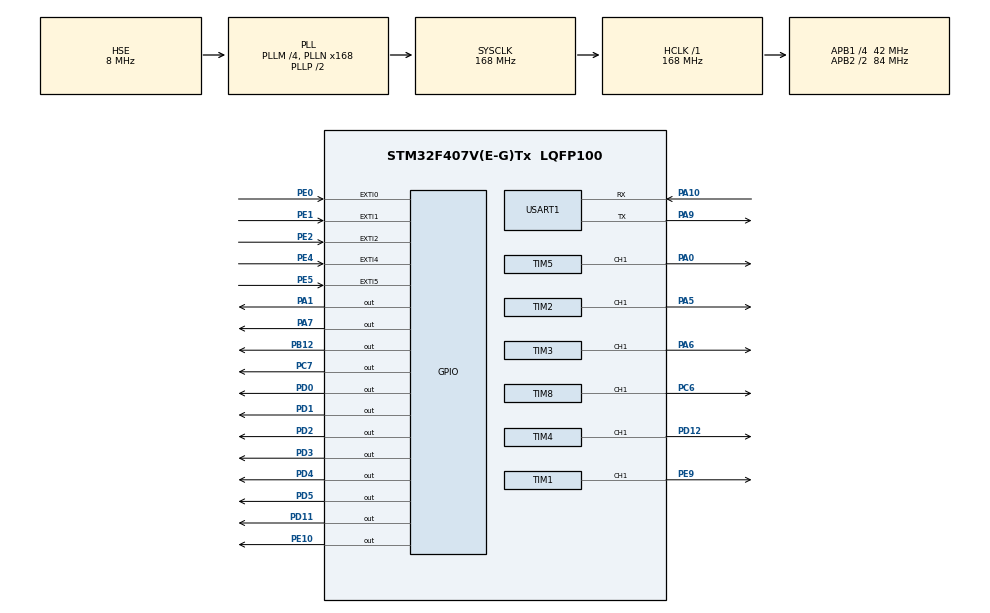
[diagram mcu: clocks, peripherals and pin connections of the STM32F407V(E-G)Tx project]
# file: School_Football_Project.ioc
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Mcu.Family=STM32F4
Mcu.Name=STM32F407V(E-G)Tx
Mcu.Package=LQFP100
NVIC.EXTI0_IRQn=true\:1\:0\:true\:false\:true\:true\:true\:true
NVIC.EXTI1_IRQn=true\:1\:0\:true\:false\:true\:true\:true\:true
NVIC.EXTI2_IRQn=true\:1\:0\:true\:false\:true\:true\:true\:true
NVIC.EXTI4_IRQn=true\:1\:0\:true\:false\:true\:true\:true\:true
NVIC.EXTI9_5_IRQn=true\:1\:0\:true\:false\:true\:true\:true\:true
NVIC.PriorityGroup=NVIC_PRIORITYGROUP_4
NVIC.TIM1_UP_TIM10_IRQn=true\:0\:0\:false\:false\:true\:true\:true\:true
NVIC.TIM2_IRQn=true\:0\:0\:false\:false\:true\:true\:true\:true
NVIC.TIM3_IRQn=true\:0\:0\:false\:false\:true\:true\:true\:true
NVIC.TIM4_IRQn=true\:0\:0\:false\:false\:true\:true\:true\:true
NVIC.TIM5_IRQn=true\:0\:0\:false\:false\:true\:true\:true\:true
NVIC.TIM8_UP_TIM13_IRQn=true\:0\:0\:false\:false\:true\:true\:true\:true
NVIC.USART1_IRQn=true\:0\:0\:false\:false\:true\:true\:true\:true
PA0-WKUP.Signal=S_TIM5_CH1
PA1.Signal=GPIO_Output
PA10.Mode=Asynchronous
PA10.Signal=USART1_RX
PA5.Signal=S_TIM2_CH1_ETR
PA6.Signal=S_TIM3_CH1
PA7.Signal=GPIO_Output
PA9.Mode=Asynchronous
PA9.Signal=USART1_TX
PB12.Signal=GPIO_Output
PC6.Signal=S_TIM8_CH1
PC7.Signal=GPIO_Output
PD0.PinState=GPIO_PIN_SET
PD0.Signal=GPIO_Output
PD1.PinState=GPIO_PIN_SET
PD1.Signal=GPIO_Output
PD11.Signal=GPIO_Output
PD12.Signal=S_TIM4_CH1
PD2.PinState=GPIO_PIN_SET
PD2.Signal=GPIO_Output
PD3.PinState=GPIO_PIN_SET
PD3.Signal=GPIO_Output
PD4.PinState=GPIO_PIN_SET
PD4.Signal=GPIO_Output
PD5.PinState=GPIO_PIN_SET
PD5.Signal=GPIO_Output
PE0.GPIO_ModeDefaultEXTI=GPIO_MODE_IT_FALLING
PE0.GPIO_PuPd=GPIO_NOPULL
PE0.Signal=GPXTI0
PE1.GPIO_ModeDefaultEXTI=GPIO_MODE_IT_FALLING
PE1.GPIO_PuPd=GPIO_NOPULL
PE1.Signal=GPXTI1
PE10.Signal=GPIO_Output
PE2.GPIO_ModeDefaultEXTI=GPIO_MODE_IT_FALLING
PE2.GPIO_PuPd=GPIO_NOPULL
PE2.Signal=GPXTI2
PE4.GPIO_ModeDefaultEXTI=GPIO_MODE_IT_RISING
PE4.Signal=GPXTI4
PE5.GPIO_ModeDefaultEXTI=GPIO_MODE_IT_RISING
PE5.Signal=GPXTI5
PE9.Signal=S_TIM1_CH1
PH0-OSC_IN.Mode=HSE-External-Oscillator
PH0-OSC_IN.Signal=RCC_OSC_IN
PH1-OSC_OUT.Mode=HSE-External-Oscillator
PH1-OSC_OUT.Signal=RCC_OSC_OUT
ProjectManager.HeapSize=0x200
ProjectManager.StackSize=0x400
ProjectManager.TargetToolchain=Makefile
RCC.48MHZClocksFreq_Value=84000000
RCC.AHBFreq_Value=168000000
RCC.APB1CLKDivider=RCC_HCLK_DIV4
RCC.APB1Freq_Value=42000000
RCC.APB1TimFreq_Value=84000000
RCC.APB2CLKDivider=RCC_HCLK_DIV2
RCC.APB2Freq_Value=84000000
RCC.APB2TimFreq_Value=168000000
RCC.CortexFreq_Value=168000000
RCC.HCLKFreq_Value=168000000
RCC.HSE_VALUE=8000000
RCC.HSI_VALUE=16000000
RCC.LSE_VALUE=32768
RCC.PLLM=4
RCC.PLLN=168
RCC.PLLSourceVirtual=RCC_PLLSOURCE_HSE
RCC.SYSCLKFreq_VALUE=168000000
RCC.SYSCLKSource=RCC_SYSCLKSOURCE_PLLCLK
RCC.VCOOutputFreq_Value=336000000
SH.S_TIM1_CH1.0=TIM1_CH1,PWM Generation1 CH1
SH.S_TIM2_CH1_ETR.0=TIM2_CH1,PWM Generation1 CH1
SH.S_TIM3_CH1.0=TIM3_CH1,PWM Generation1 CH1
SH.S_TIM4_CH1.0=TIM4_CH1,PWM Generation1 CH1
SH.S_TIM5_CH1.0=TIM5_CH1,PWM Generation1 CH1
SH.S_TIM8_CH1.0=TIM8_CH1,PWM Generation1 CH1
TIM1.Channel-PWM\ Generation1\ CH1=TIM_CHANNEL_1
TIM1.Period=500
TIM1.Prescaler=168-1
TIM1.Pulse-PWM\ Generation1\ CH1=300
TIM2.Channel-PWM\ Generation1\ CH1=TIM_CHANNEL_1
TIM2.Period=2000
TIM2.Prescaler=84-1
TIM2.Pulse-PWM\ Generation1\ CH1=300
TIM3.Channel-PWM\ Generation1\ CH1=TIM_CHANNEL_1
TIM3.Period=500
TIM3.Prescaler=84-1
TIM3.Pulse-PWM\ Generation1\ CH1=300
TIM4.Channel-PWM\ Generation1\ CH1=TIM_CHANNEL_1
TIM4.Period=2000
TIM4.Prescaler=84-1
TIM4.Pulse-PWM\ Generation1\ CH1=300
TIM5.Channel-PWM\ Generation1\ CH1=TIM_CHANNEL_1
TIM5.Period=500
TIM5.Prescaler=84-1
TIM5.Pulse-PWM\ Generation1\ CH1=300
TIM8.Channel-PWM\ Generation1\ CH1=TIM_CHANNEL_1
TIM8.Period=2000
TIM8.Prescaler=168-1
TIM8.Pulse-PWM\ Generation1\ CH1=300
USART1.VirtualMode=VM_ASYNC
VP_TIM1_VS_ClockSourceINT.Mode=Internal
VP_TIM2_VS_ClockSourceINT.Mode=Internal
VP_TIM3_VS_ClockSourceINT.Mode=Internal
VP_TIM4_VS_ClockSourceINT.Mode=Internal
VP_TIM5_VS_ClockSourceINT.Mode=Internal
VP_TIM8_VS_ClockSourceINT.Mode=Internal
board=custom

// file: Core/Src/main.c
/* USER CODE BEGIN Header */
/**
 ******************************************************************************
 * @file           : main.c
 * @brief          : Main program body
 ******************************************************************************
 * @attention
 *
 * Copyright (c) 2025 STMicroelectronics.
 * All rights reserved.
 *
 * This software is licensed under terms that can be found in the LICENSE file
 * in the root directory of this software component.
 * If no LICENSE file comes with this software, it is provided AS-IS.
 *
 ******************************************************************************
 */
/* USER CODE END Header */
#include "main.h"

/* USER CODE BEGIN Includes */
#include "step_motor.h"
/* USER CODE END Includes */

TIM_HandleTypeDef htim1;
TIM_HandleTypeDef htim2;
TIM_HandleTypeDef htim3;
TIM_HandleTypeDef htim4;
TIM_HandleTypeDef htim5;
TIM_HandleTypeDef htim8;

UART_HandleTypeDef huart1;

/* USER CODE BEGIN PV */
char coord_data[9];

Step_motor one;
Step_motor two;
Step_motor three;

Coord ball_coord;

typedef enum
{
  STATE_STOPPED,
  STATE_INITIALIZING,
  STATE_HOMING,
  STATE_READY,
  STATE_RUNNING,
} SystemState;

volatile SystemState system_state = STATE_STOPPED;

Step_motor *select_step_motor;

// PIDController pid;
float result = 0.0f;
bool if_origin[3] = {false, false, false}; // 判斷馬達回原點

const int ONE_MAX_X = 485;
const int ONE_MIN_X = 393;
const int TWO_MAX_X = 294;
const int TWO_MIN_X = 205;
const int THREE_MAX_X = 92;
const int THREE_MIN_X = 5;

// 進球時間計時
bool condition = true;
uint32_t goal_now = 0;

bool is_ball = true;                 // 是否有球
volatile bool if_goal_c = false;     // 是否有進球 電腦
volatile bool goal_c_filter = false; // 進球濾波
volatile bool if_goal_p = false;     // 是否有進球 人
volatile bool goal_p_filter = false; // 進球濾波

/* USER CODE END PV */

void SystemClock_Config(void);
static void MX_GPIO_Init(void);
static void MX_TIM1_Init(void);
static void MX_TIM2_Init(void);
static void MX_USART1_UART_Init(void);
static void MX_TIM3_Init(void);
static void MX_TIM4_Init(void);
static void MX_TIM5_Init(void);
static void MX_TIM8_Init(void);

/* USER CODE BEGIN 0 */

Coord str_find_int(char *c)
{
  is_ball = true;
  Coord cord;
  sscanf(c, "s%03d,%03dp", &cord.x, &cord.y);
  if (cord.y > 300 && select_step_motor != &one)
  {
    // 如果y值大於390，則將y值設為390
    cord.y = 300;
  }
  if (cord.y < 0)
  {
    // 如果y值小於0，則將y值設為0
    cord.y = 0;
  }

  return cord;
}

void HAL_UART_RxCpltCallback(UART_HandleTypeDef *huart)
{
  if (huart == &huart1)
  {
    if (coord_data[8] == 'p')
    {
      if_goal_c = false;
      goal_c_filter = false;
      if_goal_p = false;
      goal_p_filter = false;

      ball_coord = str_find_int(coord_data);
      memset(coord_data, 0, sizeof(coord_data)); // 清空緩衝區
    }

    if (strncmp(coord_data, "isno_ball", 9) == 0)
    {
      is_ball = false;
      memset(coord_data, 0, sizeof(coord_data)); // 清空緩衝區
      // 一直傳進球訊號
      if (if_goal_c == true)
      {
        goal_c_filter = true;
        const char goal_c_msg[] = "goal_c\n";
        // HAL_UART_Transmit_IT(&huart1, (uint8_t *)goal_c_msg, sizeof(goal_c_msg) - 1);
        HAL_UART_Transmit_IT(&huart1, (uint8_t *)goal_c_msg, strlen(goal_c_msg));
      }
      if (if_goal_p == true)
      {
        goal_p_filter = true;
        const char goal_p_msg[] = "goal_p\n";
        HAL_UART_Transmit_IT(&huart1, (uint8_t *)goal_p_msg, strlen(goal_p_msg));
      }
    }

    if (strncmp(coord_data, "stopstops", 9) == 0)
    {
      HAL_GPIO_WritePin(GPIOD, GPIO_PIN_0 | GPIO_PIN_1 | GPIO_PIN_2 | GPIO_PIN_3 | GPIO_PIN_4 | GPIO_PIN_5, GPIO_PIN_SET);
      system_state = STATE_STOPPED;
      if_origin[0] = false;
      if_origin[1] = false;
      if_origin[2] = false;
      ball_coord.x = 0;
      ball_coord.y = 0;
      stop_step_motor(&one);
      stop_step_motor(&two);
      stop_step_motor(&three);
    }
    if (strncmp(coord_data, "starttart", 9) == 0)
    {
      HAL_GPIO_WritePin(GPIOD, GPIO_PIN_0 | GPIO_PIN_1 | GPIO_PIN_2 | GPIO_PIN_3 | GPIO_PIN_4 | GPIO_PIN_5, GPIO_PIN_RESET);
      // HAL_GPIO_WritePin(GPIOD, GPIO_PIN_0 | GPIO_PIN_1, GPIO_PIN_RESET);
      if (system_state == STATE_READY)
      {
        system_state = STATE_RUNNING;
      }
    }
    if (strcmp(coord_data, "init,init") == 0)
    {
      // 馬達始能
      HAL_GPIO_WritePin(GPIOD, GPIO_PIN_0 | GPIO_PIN_1 | GPIO_PIN_2 | GPIO_PIN_3 | GPIO_PIN_4 | GPIO_PIN_5, GPIO_PIN_RESET);
      system_state = STATE_HOMING;

      // 確認是否到原點感測器
      if (HAL_GPIO_ReadPin(GPIOE, GPIO_PIN_0) != GPIO_PIN_RESET)
      {
        HAL_GPIO_WritePin(GPIOA, GPIO_PIN_1, GPIO_PIN_RESET);
        Set_Step_Frequency(&one, 1000);
        HAL_TIM_PWM_Start(&htim2, TIM_CHANNEL_1);
      }
      else
      {
        if_origin[0] = true;
      }

      if (HAL_GPIO_ReadPin(GPIOE, GPIO_PIN_1) != GPIO_PIN_RESET)
      {
        HAL_GPIO_WritePin(GPIOD, GPIO_PIN_11, GPIO_PIN_RESET);
        Set_Step_Frequency(&two, 1000);
        HAL_TIM_PWM_Start(&htim4, TIM_CHANNEL_1);
      }
      else
      {
        if_origin[1] = true;
      }

      if (HAL_GPIO_ReadPin(GPIOE, GPIO_PIN_2) != GPIO_PIN_RESET)
      {
        HAL_GPIO_WritePin(GPIOC, GPIO_PIN_7, GPIO_PIN_RESET);
        Set_Step_Frequency(&three, 1000);
        HAL_TIM_PWM_Start(&htim8, TIM_CHANNEL_1);
      }
      else
      {
        if_origin[2] = true;
      }
    }
  }

  HAL_UART_Receive_IT(&huart1, (uint8_t *)coord_data, sizeof(coord_data));
}

void HAL_UART_TxCpltCallback(UART_HandleTypeDef *huart)
{
  if (huart->Instance == USART1)
  {
    return;
  }
}

// 原點感測中斷：當回到滑軌移動到原點停止馬達->初始話馬達位置->傳一個以到達原點的訊號給電腦
void HAL_GPIO_EXTI_Callback(uint16_t GPIO_Pin)
{
  if (huart1.gState == HAL_UART_STATE_READY)
  {
    if (system_state == STATE_HOMING)
    {
      if (GPIO_Pin == GPIO_PIN_0)
      {
        // 停止馬達移動
        HAL_TIM_PWM_Stop(&htim2, TIM_CHANNEL_1);
        // 初始話馬達位置
        step_motor_init(&one, &htim2, TIM_CHANNEL_1, GPIOA, GPIO_PIN_1, 1, &htim1, TIM_CHANNEL_1, ONE_MIN_X, ONE_MAX_X);
        if_origin[0] = true;
      }

      if (GPIO_Pin == GPIO_PIN_1)
      {
        HAL_TIM_PWM_Stop(&htim4, TIM_CHANNEL_1);
        // 初始話馬達位置
        step_motor_init(&two, &htim4, TIM_CHANNEL_1, GPIOD, GPIO_PIN_11, -1, &htim3, TIM_CHANNEL_1, TWO_MIN_X, TWO_MAX_X);
        if_origin[1] = true;
      }

      if (GPIO_Pin == GPIO_PIN_2)
      {
        HAL_TIM_PWM_Stop(&htim8, TIM_CHANNEL_1);
        step_motor_init(&three, &htim8, TIM_CHANNEL_1, GPIOC, GPIO_PIN_7, 1, &htim5, TIM_CHANNEL_1, THREE_MIN_X, THREE_MAX_X);
        if_origin[2] = true;
      }
    }

    if (if_origin[0] && if_origin[1] && if_origin[2] && system_state == STATE_HOMING)
    {
      HAL_TIM_PWM_Stop(&htim2, TIM_CHANNEL_1);
      HAL_TIM_PWM_Stop(&htim4, TIM_CHANNEL_1);
      HAL_TIM_PWM_Stop(&htim8, TIM_CHANNEL_1);
      // 傳輸到達圓點訊號
      char read_msg[] = "read\n";
      HAL_UART_Transmit_IT(&huart1, (uint8_t *)read_msg, strlen(read_msg));
      system_state = STATE_READY;
    }

    if (GPIO_Pin == GPIO_PIN_4 && if_goal_p == false)
    {
      if_goal_p = true;
    }
    if (GPIO_Pin == GPIO_PIN_5 && if_goal_c == false)
    {
      if_goal_c = true;
    }
  }
}
void HAL_TIM_PeriodElapsedCallback(TIM_HandleTypeDef *htim)
{
  /* -----------one----------- */
  if (htim->Instance == TIM1)
  {
    // 371 402踢球
    count_kick_step(&one);
    if (one.kick_step >= 800)
    {
      one.kick_step = 0;
      kick_stop_step_motor(&one);
    }
  }

  if (htim->Instance == TIM2)
  {
    compute_man_location(&one);
  }
  /* -----------one----------- */

  /* -----------two----------- */
  if (htim->Instance == TIM3)
  {
    // 207到245踢球
    count_kick_step(&two);
    if (two.kick_step >= 800)
    {
      two.kick_step = 0;
      kick_stop_step_motor(&two);
    }
  }

  if (htim->Instance == TIM4)
  {
    compute_man_location(&two);
  }
  /* -----------two----------- */

  /* ----------three---------- */
  if (htim->Instance == TIM5)
  {
    // 27 70踢球
    count_kick_step(&three);
    if (three.kick_step >= 800)
    {
      three.kick_step = 0;
      kick_stop_step_motor(&three);
    }
  }

  if (htim->Instance == TIM8)
  {
    compute_man_location(&three);
  }
  /* ----------three---------- */
}

/* USER CODE END 0 */

int main(void)
{

  /* MCU Configuration--------------------------------------------------------*/

  /* Reset of all peripherals, Initializes the Flash interface and the Systick. */
  HAL_Init();

  /* Configure the system clock */
  SystemClock_Config();

  /* Initialize all configured peripherals */
  MX_GPIO_Init();
  MX_TIM1_Init();
  MX_TIM2_Init();
  MX_USART1_UART_Init();
  MX_TIM3_Init();
  MX_TIM4_Init();
  MX_TIM5_Init();
  MX_TIM8_Init();
  /* USER CODE BEGIN 2 */
  HAL_UART_Receive_IT(&huart1, (uint8_t *)coord_data, sizeof(coord_data));
  // init_pid(&pid);
  step_motor_init(&one, &htim2, TIM_CHANNEL_1, GPIOA, GPIO_PIN_1, 1, &htim1, TIM_CHANNEL_1, ONE_MIN_X, ONE_MAX_X);
  step_motor_init(&two, &htim4, TIM_CHANNEL_1, GPIOD, GPIO_PIN_11, -1, &htim3, TIM_CHANNEL_1, TWO_MIN_X, TWO_MAX_X);
  step_motor_init(&three, &htim8, TIM_CHANNEL_1, GPIOC, GPIO_PIN_7, 1, &htim5, TIM_CHANNEL_1, THREE_MIN_X, THREE_MAX_X);
  ball_coord.x = 0;
  ball_coord.y = 0;

  uint32_t start_time = HAL_GetTick();
  float freq = 0.0f;

  /* USER CODE END 2 */

  /* Infinite loop */
  /* USER CODE BEGIN WHILE */
  while (1)
  {
    //
    if (system_state == STATE_RUNNING)
    {
      if (HAL_GetTick() - start_time >= 20)
      {
        if (is_ball == true)
        {
          select_step_motor = which_step_motor(&ball_coord, &one, &two, &three);
          float *man_range = NULL;
          if (select_step_motor != NULL)
          {
            man_range = which_man_range(&ball_coord, select_step_motor);
          }
          if (select_step_motor != NULL && man_range != NULL)
          {
            if (select_step_motor == &one)
            {
              result = ball_coord.y - *man_range + 0;
              /* code */
            }
            else
            {
              result = ball_coord.y - *man_range; // 三號馬達的y值要加20
            }

            /* ---------------- pid ----------------- */
            freq = PI_Update(&select_step_motor->pid, result);
            if (fabs(freq) > 0)
            {
              Set_Step_Frequency(select_step_motor, fabs(freq));
            }

            /* ---------------- pid ----------------- */

            // 判斷方向
            if (result > 2)
            {
              dir_and_move_step_motor(select_step_motor, 1);
            }
            else if (result < -2)
            {
              dir_and_move_step_motor(select_step_motor, -1);
            }
            else
            {
              stop_step_motor(select_step_motor);
            }

            // 判斷踢球的時機
            if (fabs(result) <= 5) // 判斷距離
            {
              // 如果這個踢球為轉滿一圈先不要給訊號：800為一圈
              if (select_step_motor->kick_step == 0 && ball_coord.x > select_step_motor->ball_x_min_range && ball_coord.x < select_step_motor->ball_x_max_range)
              {
                kick_start_step_motor(select_step_motor);
              }
            }
          }
          start_time = HAL_GetTick(); // 時間控制
        }
        else
        {
          // 沒有球 停止馬達
          stop_step_motor(&one);
          stop_step_motor(&two);
          stop_step_motor(&three);
        }
      }
    }

    /* USER CODE END WHILE */

  }
}

void SystemClock_Config(void)
{
  RCC_OscInitTypeDef RCC_OscInitStruct = {0};
  RCC_ClkInitTypeDef RCC_ClkInitStruct = {0};

  /** Configure the main internal regulator output voltage
   */
  __HAL_RCC_PWR_CLK_ENABLE();
  __HAL_PWR_VOLTAGESCALING_CONFIG(PWR_REGULATOR_VOLTAGE_SCALE1);

  /** Initializes the RCC Oscillators according to the specified parameters
   * in the RCC_OscInitTypeDef structure.
   */
  RCC_OscInitStruct.OscillatorType = RCC_OSCILLATORTYPE_HSE;
  RCC_OscInitStruct.HSEState = RCC_HSE_ON;
  RCC_OscInitStruct.PLL.PLLState = RCC_PLL_ON;
  RCC_OscInitStruct.PLL.PLLSource = RCC_PLLSOURCE_HSE;
  RCC_OscInitStruct.PLL.PLLM = 4;
  RCC_OscInitStruct.PLL.PLLN = 168;
  RCC_OscInitStruct.PLL.PLLP = RCC_PLLP_DIV2;
  RCC_OscInitStruct.PLL.PLLQ = 4;
  if (HAL_RCC_OscConfig(&RCC_OscInitStruct) != HAL_OK)
  {
    Error_Handler();
  }

  /** Initializes the CPU, AHB and APB buses clocks
   */
  RCC_ClkInitStruct.ClockType = RCC_CLOCKTYPE_HCLK | RCC_CLOCKTYPE_SYSCLK | RCC_CLOCKTYPE_PCLK1 | RCC_CLOCKTYPE_PCLK2;
  RCC_ClkInitStruct.SYSCLKSource = RCC_SYSCLKSOURCE_PLLCLK;
  RCC_ClkInitStruct.AHBCLKDivider = RCC_SYSCLK_DIV1;
  RCC_ClkInitStruct.APB1CLKDivider = RCC_HCLK_DIV4;
  RCC_ClkInitStruct.APB2CLKDivider = RCC_HCLK_DIV2;

  if (HAL_RCC_ClockConfig(&RCC_ClkInitStruct, FLASH_LATENCY_5) != HAL_OK)
  {
    Error_Handler();
  }
}

static void MX_TIM1_Init(void)
{

  TIM_ClockConfigTypeDef sClockSourceConfig = {0};
  TIM_MasterConfigTypeDef sMasterConfig = {0};
  TIM_OC_InitTypeDef sConfigOC = {0};
  TIM_BreakDeadTimeConfigTypeDef sBreakDeadTimeConfig = {0};

  htim1.Instance = TIM1;
  htim1.Init.Prescaler = 168 - 1;
  htim1.Init.CounterMode = TIM_COUNTERMODE_UP;
  htim1.Init.Period = 500;
  htim1.Init.ClockDivision = TIM_CLOCKDIVISION_DIV1;
  htim1.Init.RepetitionCounter = 0;
  htim1.Init.AutoReloadPreload = TIM_AUTORELOAD_PRELOAD_DISABLE;
  if (HAL_TIM_Base_Init(&htim1) != HAL_OK)
  {
    Error_Handler();
  }
  sClockSourceConfig.ClockSource = TIM_CLOCKSOURCE_INTERNAL;
  if (HAL_TIM_ConfigClockSource(&htim1, &sClockSourceConfig) != HAL_OK)
  {
    Error_Handler();
  }
  if (HAL_TIM_PWM_Init(&htim1) != HAL_OK)
  {
    Error_Handler();
  }
  sMasterConfig.MasterOutputTrigger = TIM_TRGO_RESET;
  sMasterConfig.MasterSlaveMode = TIM_MASTERSLAVEMODE_DISABLE;
  if (HAL_TIMEx_MasterConfigSynchronization(&htim1, &sMasterConfig) != HAL_OK)
  {
    Error_Handler();
  }
  sConfigOC.OCMode = TIM_OCMODE_PWM1;
  sConfigOC.Pulse = 300;
  sConfigOC.OCPolarity = TIM_OCPOLARITY_HIGH;
  sConfigOC.OCNPolarity = TIM_OCNPOLARITY_HIGH;
  sConfigOC.OCFastMode = TIM_OCFAST_DISABLE;
  sConfigOC.OCIdleState = TIM_OCIDLESTATE_RESET;
  sConfigOC.OCNIdleState = TIM_OCNIDLESTATE_RESET;
  if (HAL_TIM_PWM_ConfigChannel(&htim1, &sConfigOC, TIM_CHANNEL_1) != HAL_OK)
  {
    Error_Handler();
  }
  sBreakDeadTimeConfig.OffStateRunMode = TIM_OSSR_DISABLE;
  sBreakDeadTimeConfig.OffStateIDLEMode = TIM_OSSI_DISABLE;
  sBreakDeadTimeConfig.LockLevel = TIM_LOCKLEVEL_OFF;
  sBreakDeadTimeConfig.DeadTime = 0;
  sBreakDeadTimeConfig.BreakState = TIM_BREAK_DISABLE;
  sBreakDeadTimeConfig.BreakPolarity = TIM_BREAKPOLARITY_HIGH;
  sBreakDeadTimeConfig.AutomaticOutput = TIM_AUTOMATICOUTPUT_DISABLE;
  if (HAL_TIMEx_ConfigBreakDeadTime(&htim1, &sBreakDeadTimeConfig) != HAL_OK)
  {
    Error_Handler();
  }
  HAL_TIM_MspPostInit(&htim1);
}

static void MX_TIM2_Init(void)
{

  TIM_ClockConfigTypeDef sClockSourceConfig = {0};
  TIM_MasterConfigTypeDef sMasterConfig = {0};
  TIM_OC_InitTypeDef sConfigOC = {0};

  htim2.Instance = TIM2;
  htim2.Init.Prescaler = 84 - 1;
  htim2.Init.CounterMode = TIM_COUNTERMODE_UP;
  htim2.Init.Period = 2000;
  htim2.Init.ClockDivision = TIM_CLOCKDIVISION_DIV1;
  htim2.Init.AutoReloadPreload = TIM_AUTORELOAD_PRELOAD_DISABLE;
  if (HAL_TIM_Base_Init(&htim2) != HAL_OK)
  {
    Error_Handler();
  }
  sClockSourceConfig.ClockSource = TIM_CLOCKSOURCE_INTERNAL;
  if (HAL_TIM_ConfigClockSource(&htim2, &sClockSourceConfig) != HAL_OK)
  {
    Error_Handler();
  }
  if (HAL_TIM_PWM_Init(&htim2) != HAL_OK)
  {
    Error_Handler();
  }
  sMasterConfig.MasterOutputTrigger = TIM_TRGO_RESET;
  sMasterConfig.MasterSlaveMode = TIM_MASTERSLAVEMODE_DISABLE;
  if (HAL_TIMEx_MasterConfigSynchronization(&htim2, &sMasterConfig) != HAL_OK)
  {
    Error_Handler();
  }
  sConfigOC.OCMode = TIM_OCMODE_PWM1;
  sConfigOC.Pulse = 300;
  sConfigOC.OCPolarity = TIM_OCPOLARITY_HIGH;
  sConfigOC.OCFastMode = TIM_OCFAST_DISABLE;
  if (HAL_TIM_PWM_ConfigChannel(&htim2, &sConfigOC, TIM_CHANNEL_1) != HAL_OK)
  {
    Error_Handler();
  }
  HAL_TIM_MspPostInit(&htim2);
}

static void MX_TIM3_Init(void)
{

  TIM_ClockConfigTypeDef sClockSourceConfig = {0};
  TIM_MasterConfigTypeDef sMasterConfig = {0};
  TIM_OC_InitTypeDef sConfigOC = {0};

  htim3.Instance = TIM3;
  htim3.Init.Prescaler = 84 - 1;
  htim3.Init.CounterMode = TIM_COUNTERMODE_UP;
  htim3.Init.Period = 500;
  htim3.Init.ClockDivision = TIM_CLOCKDIVISION_DIV1;
  htim3.Init.AutoReloadPreload = TIM_AUTORELOAD_PRELOAD_DISABLE;
  if (HAL_TIM_Base_Init(&htim3) != HAL_OK)
  {
    Error_Handler();
  }
  sClockSourceConfig.ClockSource = TIM_CLOCKSOURCE_INTERNAL;
  if (HAL_TIM_ConfigClockSource(&htim3, &sClockSourceConfig) != HAL_OK)
  {
    Error_Handler();
  }
  if (HAL_TIM_PWM_Init(&htim3) != HAL_OK)
  {
    Error_Handler();
  }
  sMasterConfig.MasterOutputTrigger = TIM_TRGO_RESET;
  sMasterConfig.MasterSlaveMode = TIM_MASTERSLAVEMODE_DISABLE;
  if (HAL_TIMEx_MasterConfigSynchronization(&htim3, &sMasterConfig) != HAL_OK)
  {
    Error_Handler();
  }
  sConfigOC.OCMode = TIM_OCMODE_PWM1;
  sConfigOC.Pulse = 300;
  sConfigOC.OCPolarity = TIM_OCPOLARITY_HIGH;
  sConfigOC.OCFastMode = TIM_OCFAST_DISABLE;
  if (HAL_TIM_PWM_ConfigChannel(&htim3, &sConfigOC, TIM_CHANNEL_1) != HAL_OK)
  {
    Error_Handler();
  }
  HAL_TIM_MspPostInit(&htim3);
}

static void MX_TIM4_Init(void)
{

  TIM_ClockConfigTypeDef sClockSourceConfig = {0};
  TIM_MasterConfigTypeDef sMasterConfig = {0};
  TIM_OC_InitTypeDef sConfigOC = {0};

  htim4.Instance = TIM4;
  htim4.Init.Prescaler = 84 - 1;
  htim4.Init.CounterMode = TIM_COUNTERMODE_UP;
  htim4.Init.Period = 2000;
  htim4.Init.ClockDivision = TIM_CLOCKDIVISION_DIV1;
  htim4.Init.AutoReloadPreload = TIM_AUTORELOAD_PRELOAD_DISABLE;
  if (HAL_TIM_Base_Init(&htim4) != HAL_OK)
  {
    Error_Handler();
  }
  sClockSourceConfig.ClockSource = TIM_CLOCKSOURCE_INTERNAL;
  if (HAL_TIM_ConfigClockSource(&htim4, &sClockSourceConfig) != HAL_OK)
  {
    Error_Handler();
  }
  if (HAL_TIM_PWM_Init(&htim4) != HAL_OK)
  {
    Error_Handler();
  }
  sMasterConfig.MasterOutputTrigger = TIM_TRGO_RESET;
  sMasterConfig.MasterSlaveMode = TIM_MASTERSLAVEMODE_DISABLE;
  if (HAL_TIMEx_MasterConfigSynchronization(&htim4, &sMasterConfig) != HAL_OK)
  {
    Error_Handler();
  }
  sConfigOC.OCMode = TIM_OCMODE_PWM1;
  sConfigOC.Pulse = 300;
  sConfigOC.OCPolarity = TIM_OCPOLARITY_HIGH;
  sConfigOC.OCFastMode = TIM_OCFAST_DISABLE;
  if (HAL_TIM_PWM_ConfigChannel(&htim4, &sConfigOC, TIM_CHANNEL_1) != HAL_OK)
  {
    Error_Handler();
  }
  HAL_TIM_MspPostInit(&htim4);
}

static void MX_TIM5_Init(void)
{

  TIM_ClockConfigTypeDef sClockSourceConfig = {0};
  TIM_MasterConfigTypeDef sMasterConfig = {0};
  TIM_OC_InitTypeDef sConfigOC = {0};

  htim5.Instance = TIM5;
  htim5.Init.Prescaler = 84 - 1;
  htim5.Init.CounterMode = TIM_COUNTERMODE_UP;
  htim5.Init.Period = 500;
  htim5.Init.ClockDivision = TIM_CLOCKDIVISION_DIV1;
  htim5.Init.AutoReloadPreload = TIM_AUTORELOAD_PRELOAD_DISABLE;
  if (HAL_TIM_Base_Init(&htim5) != HAL_OK)
  {
    Error_Handler();
  }
  sClockSourceConfig.ClockSource = TIM_CLOCKSOURCE_INTERNAL;
  if (HAL_TIM_ConfigClockSource(&htim5, &sClockSourceConfig) != HAL_OK)
  {
    Error_Handler();
  }
  if (HAL_TIM_PWM_Init(&htim5) != HAL_OK)
  {
    Error_Handler();
  }
  sMasterConfig.MasterOutputTrigger = TIM_TRGO_RESET;
  sMasterConfig.MasterSlaveMode = TIM_MASTERSLAVEMODE_DISABLE;
  if (HAL_TIMEx_MasterConfigSynchronization(&htim5, &sMasterConfig) != HAL_OK)
  {
    Error_Handler();
  }
  sConfigOC.OCMode = TIM_OCMODE_PWM1;
  sConfigOC.Pulse = 300;
  sConfigOC.OCPolarity = TIM_OCPOLARITY_HIGH;
  sConfigOC.OCFastMode = TIM_OCFAST_DISABLE;
  if (HAL_TIM_PWM_ConfigChannel(&htim5, &sConfigOC, TIM_CHANNEL_1) != HAL_OK)
  {
    Error_Handler();
  }
  HAL_TIM_MspPostInit(&htim5);
}

static void MX_TIM8_Init(void)
{

  TIM_ClockConfigTypeDef sClockSourceConfig = {0};
  TIM_MasterConfigTypeDef sMasterConfig = {0};
  TIM_OC_InitTypeDef sConfigOC = {0};
  TIM_BreakDeadTimeConfigTypeDef sBreakDeadTimeConfig = {0};

  htim8.Instance = TIM8;
  htim8.Init.Prescaler = 168 - 1;
  htim8.Init.CounterMode = TIM_COUNTERMODE_UP;
  htim8.Init.Period = 2000;
  htim8.Init.ClockDivision = TIM_CLOCKDIVISION_DIV1;
  htim8.Init.RepetitionCounter = 0;
  htim8.Init.AutoReloadPreload = TIM_AUTORELOAD_PRELOAD_DISABLE;
  if (HAL_TIM_Base_Init(&htim8) != HAL_OK)
  {
    Error_Handler();
  }
  sClockSourceConfig.ClockSource = TIM_CLOCKSOURCE_INTERNAL;
  if (HAL_TIM_ConfigClockSource(&htim8, &sClockSourceConfig) != HAL_OK)
  {
    Error_Handler();
  }
  if (HAL_TIM_PWM_Init(&htim8) != HAL_OK)
  {
    Error_Handler();
  }
  sMasterConfig.MasterOutputTrigger = TIM_TRGO_RESET;
  sMasterConfig.MasterSlaveMode = TIM_MASTERSLAVEMODE_DISABLE;
  if (HAL_TIMEx_MasterConfigSynchronization(&htim8, &sMasterConfig) != HAL_OK)
  {
    Error_Handler();
  }
  sConfigOC.OCMode = TIM_OCMODE_PWM1;
  sConfigOC.Pulse = 300;
  sConfigOC.OCPolarity = TIM_OCPOLARITY_HIGH;
  sConfigOC.OCNPolarity = TIM_OCNPOLARITY_HIGH;
  sConfigOC.OCFastMode = TIM_OCFAST_DISABLE;
  sConfigOC.OCIdleState = TIM_OCIDLESTATE_RESET;
  sConfigOC.OCNIdleState = TIM_OCNIDLESTATE_RESET;
  if (HAL_TIM_PWM_ConfigChannel(&htim8, &sConfigOC, TIM_CHANNEL_1) != HAL_OK)
  {
    Error_Handler();
  }
  sBreakDeadTimeConfig.OffStateRunMode = TIM_OSSR_DISABLE;
  sBreakDeadTimeConfig.OffStateIDLEMode = TIM_OSSI_DISABLE;
  sBreakDeadTimeConfig.LockLevel = TIM_LOCKLEVEL_OFF;
  sBreakDeadTimeConfig.DeadTime = 0;
  sBreakDeadTimeConfig.BreakState = TIM_BREAK_DISABLE;
  sBreakDeadTimeConfig.BreakPolarity = TIM_BREAKPOLARITY_HIGH;
  sBreakDeadTimeConfig.AutomaticOutput = TIM_AUTOMATICOUTPUT_DISABLE;
  if (HAL_TIMEx_ConfigBreakDeadTime(&htim8, &sBreakDeadTimeConfig) != HAL_OK)
  {
    Error_Handler();
  }
  HAL_TIM_MspPostInit(&htim8);
}

static void MX_USART1_UART_Init(void)
{

  huart1.Instance = USART1;
  huart1.Init.BaudRate = 115200;
  huart1.Init.WordLength = UART_WORDLENGTH_8B;
  huart1.Init.StopBits = UART_STOPBITS_1;
  huart1.Init.Parity = UART_PARITY_NONE;
  huart1.Init.Mode = UART_MODE_TX_RX;
  huart1.Init.HwFlowCtl = UART_HWCONTROL_NONE;
  huart1.Init.OverSampling = UART_OVERSAMPLING_16;
  if (HAL_UART_Init(&huart1) != HAL_OK)
  {
    Error_Handler();
  }
}

static void MX_GPIO_Init(void)
{
  GPIO_InitTypeDef GPIO_InitStruct = {0};

  /* GPIO Ports Clock Enable */
  __HAL_RCC_GPIOE_CLK_ENABLE();
  __HAL_RCC_GPIOH_CLK_ENABLE();
  __HAL_RCC_GPIOA_CLK_ENABLE();
  __HAL_RCC_GPIOD_CLK_ENABLE();
  __HAL_RCC_GPIOC_CLK_ENABLE();

  /*Configure GPIO pin Output Level */
  HAL_GPIO_WritePin(GPIOA, GPIO_PIN_1, GPIO_PIN_RESET);

  /*Configure GPIO pin Output Level */
  HAL_GPIO_WritePin(GPIOD, GPIO_PIN_11, GPIO_PIN_RESET);

  /*Configure GPIO pin Output Level */
  HAL_GPIO_WritePin(GPIOC, GPIO_PIN_7, GPIO_PIN_RESET);

  /*Configure GPIO pin Output Level */
  HAL_GPIO_WritePin(GPIOD, GPIO_PIN_0 | GPIO_PIN_1 | GPIO_PIN_2 | GPIO_PIN_3 | GPIO_PIN_4 | GPIO_PIN_5, GPIO_PIN_SET);

  /*Configure GPIO pins : PE2 PE0 PE1 */
  GPIO_InitStruct.Pin = GPIO_PIN_2 | GPIO_PIN_0 | GPIO_PIN_1;
  GPIO_InitStruct.Mode = GPIO_MODE_IT_FALLING;
  GPIO_InitStruct.Pull = GPIO_NOPULL;
  HAL_GPIO_Init(GPIOE, &GPIO_InitStruct);

  /*Configure GPIO pins : PE4 PE5 */
  GPIO_InitStruct.Pin = GPIO_PIN_4 | GPIO_PIN_5;
  GPIO_InitStruct.Mode = GPIO_MODE_IT_RISING;
  GPIO_InitStruct.Pull = GPIO_NOPULL;
  HAL_GPIO_Init(GPIOE, &GPIO_InitStruct);

  /*Configure GPIO pin : PA1 */
  GPIO_InitStruct.Pin = GPIO_PIN_1;
  GPIO_InitStruct.Mode = GPIO_MODE_OUTPUT_PP;
  GPIO_InitStruct.Pull = GPIO_NOPULL;
  GPIO_InitStruct.Speed = GPIO_SPEED_FREQ_LOW;
  HAL_GPIO_Init(GPIOA, &GPIO_InitStruct);

  /*Configure GPIO pins : PD11 PD0 PD1 PD2
                           PD3 PD4 PD5 */
  GPIO_InitStruct.Pin = GPIO_PIN_11 | GPIO_PIN_0 | GPIO_PIN_1 | GPIO_PIN_2 | GPIO_PIN_3 | GPIO_PIN_4 | GPIO_PIN_5;
  GPIO_InitStruct.Mode = GPIO_MODE_OUTPUT_PP;
  GPIO_InitStruct.Pull = GPIO_NOPULL;
  GPIO_InitStruct.Speed = GPIO_SPEED_FREQ_LOW;
  HAL_GPIO_Init(GPIOD, &GPIO_InitStruct);

  /*Configure GPIO pin : PC7 */
  GPIO_InitStruct.Pin = GPIO_PIN_7;
  GPIO_InitStruct.Mode = GPIO_MODE_OUTPUT_PP;
  GPIO_InitStruct.Pull = GPIO_NOPULL;
  GPIO_InitStruct.Speed = GPIO_SPEED_FREQ_LOW;
  HAL_GPIO_Init(GPIOC, &GPIO_InitStruct);

  /* EXTI interrupt init*/
  HAL_NVIC_SetPriority(EXTI0_IRQn, 1, 0);
  HAL_NVIC_EnableIRQ(EXTI0_IRQn);

  HAL_NVIC_SetPriority(EXTI1_IRQn, 1, 0);
  HAL_NVIC_EnableIRQ(EXTI1_IRQn);

  HAL_NVIC_SetPriority(EXTI2_IRQn, 1, 0);
  HAL_NVIC_EnableIRQ(EXTI2_IRQn);

  HAL_NVIC_SetPriority(EXTI4_IRQn, 1, 0);
  HAL_NVIC_EnableIRQ(EXTI4_IRQn);

  HAL_NVIC_SetPriority(EXTI9_5_IRQn, 1, 0);
  HAL_NVIC_EnableIRQ(EXTI9_5_IRQn);

}

void Error_Handler(void)
{
  __disable_irq();
  while (1)
  {
  }
}
